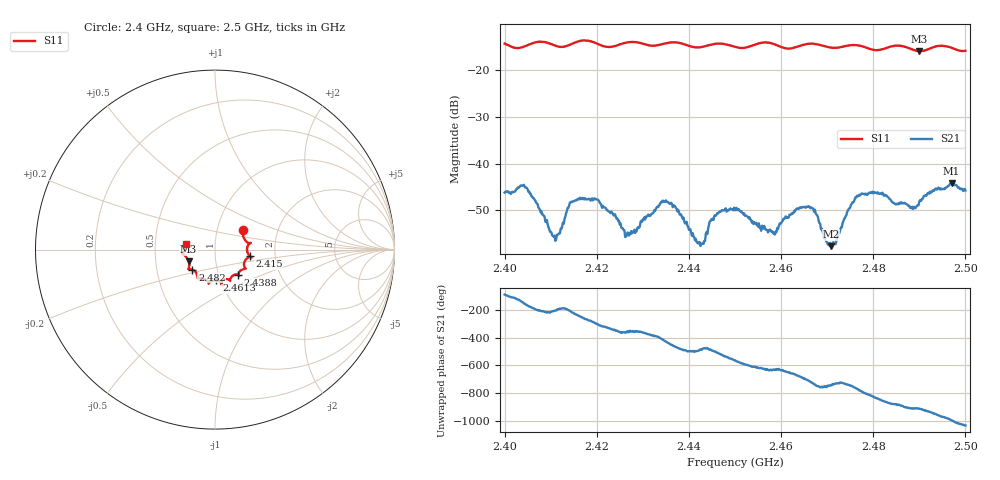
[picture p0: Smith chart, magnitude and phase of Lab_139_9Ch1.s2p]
# Hz S RI R 50
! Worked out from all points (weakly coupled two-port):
!   601 points, 2.4 GHz to 2.5 GHz, reference 50 ohm
!   highest |S21| = -44.27 dB at 2.497 GHz (marker M1); lowest = -57.7 dB at 2.4708 GHz (marker M2)
!   lowest |S11| = -15.9 dB at 2.49 GHz (marker M3), VSWR 1.38, Z = 36.9 - j4.89 ohm
!   |S11| at or under -10 dB: start of sweep to end of sweep
!   S12 and S22 are empty: the file has one direction only
!   S11 on the Smith chart (normalised r, x): 2.4 GHz: 1.33, +0.31; 2.415 GHz: 1.47, -0.11; 2.4388 GHz: 1.24, -0.36; 2.4613 GHz: 0.96, -0.34; 2.482 GHz: 0.76, -0.17; 2.5 GHz: 0.72, +0.05
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2.4e9  0.158 0.1119  0.000226 -0.00489  0 0  0 0
2.4045e9  0.1767 0.0424  -0.00505 -0.00228  0 0  0 0
2.410833e9  0.1836 0.0221  -0.00154 0.000699  0 0  0 0
2.415e9  0.1925 -0.0363  -0.00296 0.00263  0 0  0 0
2.416667e9  0.2034 -0.0441  -0.00137 0.00398  0 0  0 0
2.42e9  0.1895 -0.0425  0.00194 0.00366  0 0  0 0
2.426667e9  0.1701 -0.1041  0.00181 0.000225  0 0  0 0
2.433333e9  0.1324 -0.1316  0.00284 -0.00189  0 0  0 0
2.438833e9  0.1296 -0.1408  -0.00173 -0.002  0 0  0 0
2.442667e9  0.0933 -0.1507  -0.000842 -0.00109  0 0  0 0
2.446e9  0.084 -0.1742  -0.00238 -0.00158  0 0  0 0
2.45e9  0.0689 -0.1649  -0.0029 0.00125  0 0  0 0
2.458333e9  0.0367 -0.1888  4.93e-05 0.00177  0 0  0 0
2.461333e9  0.00761 -0.1712  0.000865 0.00253  0 0  0 0
2.466667e9  -0.0349 -0.19  0.00334 -0.000202  0 0  0 0
2.470833e9  -0.052 -0.1672  0.00118 -0.000541  0 0  0 0
2.4765e9  -0.096 -0.1591  0.00297 -0.00341  0 0  0 0
2.482e9  -0.1257 -0.1116  -0.0035 -0.00339  0 0  0 0
2.483333e9  -0.1394 -0.1088  -0.00378 -0.00207  0 0  0 0
2.49e9  -0.147 -0.0645  -0.00383 0.000874  0 0  0 0
2.497e9  -0.174 -0.0111  0.000697 0.00608  0 0  0 0
2.5e9  -0.1589 0.0325  0.00359 0.00368  0 0  0 0
